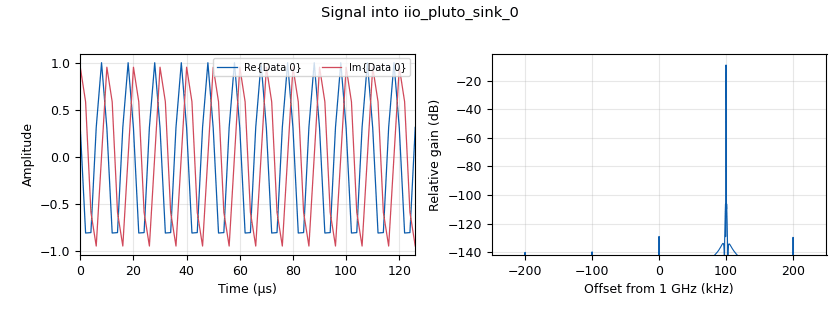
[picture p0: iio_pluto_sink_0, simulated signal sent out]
options:
  parameters:
    author: Brian Burke
    generate_options: qt_gui
    id: SDR_Pluto_0
    output_language: python
    title: Pluto SDR Cos Loopback
  states: {}

blocks:
- name: samp_rate
  id: variable
  parameters:
    value: '500000'
  states: {}
- name: sig_freq
  id: variable
  parameters:
    value: '100000'
  states: {}
- name: analog_sig_source_x_0
  id: analog_sig_source_x
  parameters:
    amp: '1'
    freq: sig_freq
    offset: '0'
    phase: '0'
    samp_rate: samp_rate
    type: complex
    waveform: analog.GR_COS_WAVE
  states: {}
- name: iio_pluto_sink_0
  id: iio_pluto_sink
  parameters:
    attenuation1: '10.0'
    bandwidth: '1000000'
    buffer_size: '32768'
    cyclic: 'True'
    filter_source: '''Auto'''
    frequency: '1000000000'
    samplerate: samp_rate
    type: fc32
    uri: 192.168.2.1
  states: {}
- name: iio_pluto_source_0
  id: iio_pluto_source
  parameters:
    bandwidth: '1000000'
    bbdc: 'False'
    buffer_size: '32768'
    filter_source: '''Auto'''
    frequency: '1000000000'
    gain1: '''manual'''
    len_tag_key: ''
    manual_gain1: '10'
    quadrature: 'True'
    rfdc: 'False'
    samplerate: samp_rate
    type: fc32
    uri: 192.168.2.1
  states: {}
- name: qtgui_sink_x_0
  id: qtgui_sink_x
  parameters:
    bw: samp_rate
    fc: '0'
    fftsize: '2048'
    name: '"Pluto Loopback"'
    type: complex
  states: {}

connections:
- [analog_sig_source_x_0, '0', iio_pluto_sink_0, '0']
- [iio_pluto_source_0, '0', qtgui_sink_x_0, '0']

metadata:
  file_format: 1
  grc_version: 3.10.4.0
